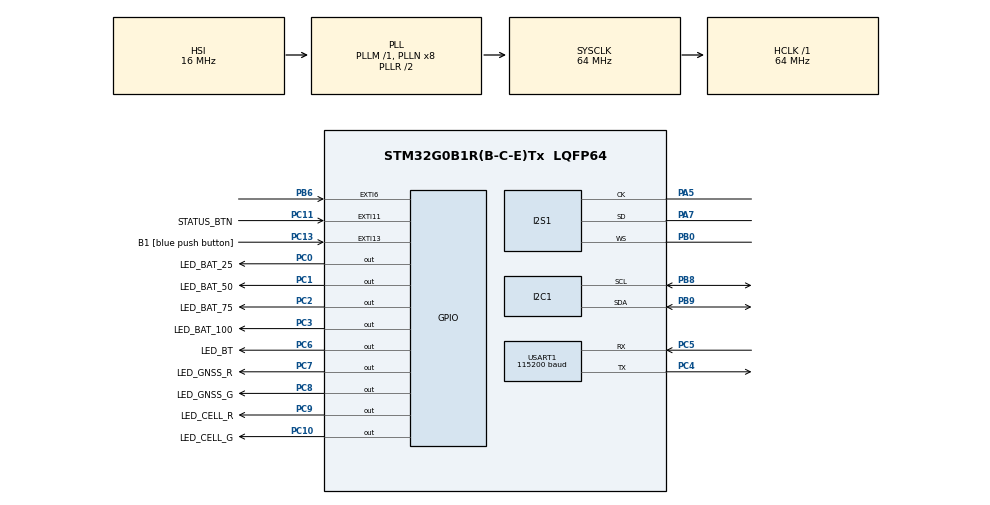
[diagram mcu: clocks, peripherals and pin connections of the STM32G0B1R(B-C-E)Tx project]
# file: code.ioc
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Dma.Request0=SPI1_RX
Dma.SPI1_RX.0.Direction=DMA_PERIPH_TO_MEMORY
Dma.SPI1_RX.0.EventEnable=DISABLE
Dma.SPI1_RX.0.Instance=DMA1_Channel1
Dma.SPI1_RX.0.MemDataAlignment=DMA_MDATAALIGN_HALFWORD
Dma.SPI1_RX.0.MemInc=DMA_MINC_ENABLE
Dma.SPI1_RX.0.Mode=DMA_CIRCULAR
Dma.SPI1_RX.0.PeriphDataAlignment=DMA_PDATAALIGN_HALFWORD
Dma.SPI1_RX.0.PeriphInc=DMA_PINC_DISABLE
Dma.SPI1_RX.0.Polarity=HAL_DMAMUX_REQ_GEN_RISING
Dma.SPI1_RX.0.Priority=DMA_PRIORITY_LOW
Dma.SPI1_RX.0.RequestNumber=1
Dma.SPI1_RX.0.SignalID=NONE
Dma.SPI1_RX.0.SyncEnable=DISABLE
Dma.SPI1_RX.0.SyncPolarity=HAL_DMAMUX_SYNC_NO_EVENT
Dma.SPI1_RX.0.SyncRequestNumber=1
Dma.SPI1_RX.0.SyncSignalID=NONE
I2C1.Timing=0x10B17DB5
I2S1.AudioFreq=I2S_AUDIOFREQ_48K
I2S1.DataFormat=I2S_DATAFORMAT_24B
I2S1.ErrorAudioFreq=-0.79 %
I2S1.FullDuplexMode=I2S_FULLDUPLEXMODE_DISABLE
I2S1.Instance=SPI$Index
I2S1.Mode=I2S_MODE_MASTER_RX
I2S1.RealAudioFreq=47.619 KHz
I2S1.Standard=I2S_STANDARD_MSB
I2S1.VirtualMode=I2S_MODE_MASTER
Mcu.Family=STM32G0
Mcu.Name=STM32G0B1R(B-C-E)Tx
Mcu.Package=LQFP64
NVIC.DMA1_Channel1_IRQn=true\:2\:0\:false\:false\:true\:false\:true\:true
NVIC.EXTI4_15_IRQn=true\:0\:0\:false\:false\:true\:true\:true\:true
NVIC.I2C1_IRQn=true\:0\:0\:false\:false\:true\:true\:true\:true
NVIC.USART1_IRQn=true\:0\:0\:false\:false\:true\:true\:true\:true
PA13.GPIO_Label=TMS
PA13.Mode=Serial_Wire
PA13.Signal=SYS_SWDIO
PA14-BOOT0.GPIO_Label=TCK
PA14-BOOT0.Mode=Serial_Wire
PA14-BOOT0.Signal=SYS_SWCLK
PA5.Mode=Half_Duplex_Master
PA5.Signal=I2S1_CK
PA7.Mode=Half_Duplex_Master
PA7.Signal=I2S1_SD
PB0.Mode=Half_Duplex_Master
PB0.Signal=I2S1_WS
PB6.Signal=GPXTI6
PB8.Mode=I2C
PB8.Signal=I2C1_SCL
PB9.Mode=I2C
PB9.Signal=I2C1_SDA
PC0.GPIO_Label=LED_BAT_25
PC0.Signal=GPIO_Output
PC1.GPIO_Label=LED_BAT_50
PC1.Signal=GPIO_Output
PC10.GPIO_Label=LED_CELL_G
PC10.Signal=GPIO_Output
PC11.GPIO_Label=STATUS_BTN
PC11.GPIO_ModeDefaultEXTI=GPIO_MODE_IT_FALLING
PC11.Signal=GPXTI11
PC13.GPIO_Label=B1 [blue push button]
PC13.GPIO_ModeDefaultEXTI=GPIO_MODE_IT_FALLING
PC13.Signal=GPXTI13
PC14-OSC32_IN\ (PC14).Mode=LSE-External-Oscillator
PC14-OSC32_IN\ (PC14).Signal=RCC_OSC32_IN
PC15-OSC32_OUT\ (PC15).Mode=LSE-External-Oscillator
PC15-OSC32_OUT\ (PC15).Signal=RCC_OSC32_OUT
PC2.GPIO_Label=LED_BAT_75
PC2.Signal=GPIO_Output
PC3.GPIO_Label=LED_BAT_100
PC3.Signal=GPIO_Output
PC4.Mode=Asynchronous
PC4.Signal=USART1_TX
PC5.Mode=Asynchronous
PC5.Signal=USART1_RX
PC6.GPIO_Label=LED_BT
PC6.Signal=GPIO_Output
PC7.GPIO_Label=LED_GNSS_R
PC7.Signal=GPIO_Output
PC8.GPIO_Label=LED_GNSS_G
PC8.Signal=GPIO_Output
PC9.GPIO_Label=LED_CELL_R
PC9.Signal=GPIO_Output
PF0-OSC_IN\ (PF0).GPIO_Label=MCO
PF0-OSC_IN\ (PF0).Mode=HSE-External-Clock-Source
PF0-OSC_IN\ (PF0).Signal=RCC_OSC_IN
ProjectManager.HeapSize=0x200
ProjectManager.StackSize=0x400
ProjectManager.TargetToolchain=CMake
RCC.ADCFreq_Value=64000000
RCC.AHBFreq_Value=64000000
RCC.CortexFreq_Value=64000000
RCC.EXTERNAL_CLOCK_VALUE=12288000
RCC.HCLKFreq_Value=64000000
RCC.HSE_VALUE=8000000
RCC.HSI48_VALUE=48000000
RCC.HSI_VALUE=16000000
RCC.SYSCLKFreq_VALUE=64000000
RCC.SYSCLKSource=RCC_SYSCLKSOURCE_PLLCLK
RCC.USART1CLockSelection=RCC_USART1CLKSOURCE_HSI
RCC.USBFreq_Value=48000000
RCC.VCOOutputFreq_Value=128000000
USART1.BaudRate=115200
USART1.VirtualMode-Asynchronous=VM_ASYNC
VP_SYS_VS_DBSignals.Mode=DisableDeadBatterySignals
board=NUCLEO-G0B1RE

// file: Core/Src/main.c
/* USER CODE BEGIN Header */
/**
 ******************************************************************************
 * @file           : main.c
 * @brief          : Main program body
 ******************************************************************************
 * @attention
 *
 * Copyright (c) 2026 STMicroelectronics.
 * All rights reserved.
 *
 * This software is licensed under terms that can be found in the LICENSE file
 * in the root directory of this software component.
 * If no LICENSE file comes with this software, it is provided AS-IS.
 *
 ******************************************************************************
 */
/* USER CODE END Header */
#include "main.h"

/* USER CODE BEGIN Includes */
#include "battery.h"
#include "sound.h"
#include "uplink.h"
#include "clock.h"
#include "message.h"
#include "status.h"
/* USER CODE END Includes */

/* USER CODE BEGIN PD */
/* Battery design capacity written to the BQ27441 at boot (mAh).
 * 0 keeps the gauge's current setting. */
#define BATTERY_DESIGN_CAPACITY_MAH 3000
/* How often the main loop retries a fuel gauge that isn't connected (ms).
 * Each failed try waits out I2C timeouts, so not every loop. */
#define BATTERY_POLL_INTERVAL_MS 5000
/* GNSS one shot requests. Cellular is unavailable while the XBee searches
 * for a fix, so keep these infrequent. */
#define GNSS_STARTUP_DELAY_MS 10000   /* let the XBee boot first */
#define GNSS_POLL_INTERVAL_MS 600000  /* 10 minutes */
#define GNSS_TIMEOUT_S 120
/* Give up waiting for the XBee's GNSS result this long after its own
 * timeout, so a lost response can't block GNSS and uploads forever. */
#define GNSS_RESPONSE_GRACE_MS 30000

/* User button B1 (PC13, low while pressed) starts and stops recording.
 * Presses closer together than BUTTON_DEBOUNCE_MS are switch bounce. A
 * press only counts if B1 is still held BUTTON_CONFIRM_MS after the edge,
 * which filters out the falling edges from bounce on release. */
#define BUTTON_DEBOUNCE_MS 250u
#define BUTTON_CONFIRM_MS 20u
/* The status button (PC11, low while pressed) shows the status LEDs for
 * STATUS_SHOW_MS. Debounced the same way as B1. */

/* TESTING: skip GNSS and use a fixed position until the app sends one, so
 * uploads can be tested without a fix. Set to 0 to restore GNSS. */
#define TEST_STATIC_POSITION 1
#define TEST_LATITUDE_E7 537728000    /* 53.7728 */
#define TEST_LONGITUDE_E7 -1133899000 /* -113.3899 */

/* Time from the cellular network (XBee AT "DT"). Asked every RETRY until an
 * answer arrives, then every RESYNC: the clock runs on the HAL tick, whose
 * oscillator can drift around a percent. */
#define NETWORK_TIME_RETRY_MS 10000u
#define NETWORK_TIME_RESYNC_MS 600000u /* 10 minutes */

/* USER CODE END PD */

I2C_HandleTypeDef hi2c1;

I2S_HandleTypeDef hi2s1;
DMA_HandleTypeDef hdma_spi1_rx;

UART_HandleTypeDef huart1;

/* USER CODE BEGIN PV */
static uint8_t api_rx_byte;
volatile API_Status api_status;
/* Set by the B1 interrupt, handled by the main loop. */
static volatile bool button_pressed;
static volatile uint32_t button_press_tick;
/* Set by the status button interrupt, handled by the main loop. */
static volatile bool status_button_pressed;
static volatile uint32_t status_button_tick;
Battery_Status battery_status;
/* Latest one second sound level from the microphone. */
Sound_Reading sound_level;

/* USER CODE END PV */

void SystemClock_Config(void);
static void MX_GPIO_Init(void);
static void MX_DMA_Init(void);
static void MX_USART1_UART_Init(void);
static void MX_I2C1_Init(void);
static void MX_I2S1_Init(void);

/* USER CODE BEGIN 0 */

/* printf() retargeting. LPUART1 (the debug UART) is not enabled in code.ioc,
 * so output is discarded. Enable LPUART1 in CubeMX and define DEBUG_UART to
 * send printf() output over it again. */
#ifdef DEBUG_UART
extern UART_HandleTypeDef hlpuart1;
#endif

int _write(int file, char *ptr, int len) {
#ifdef DEBUG_UART
  HAL_UART_Transmit(&hlpuart1, (uint8_t *)ptr, len, HAL_MAX_DELAY);
#else
  (void)file;
  (void)ptr;
#endif
  return len;
}

/* USER CODE END 0 */

int main(void)
{

  /* MCU Configuration--------------------------------------------------------*/

  /* Reset of all peripherals, Initializes the Flash interface and the Systick. */
  HAL_Init();

  /* Configure the system clock */
  SystemClock_Config();

  /* Initialize all configured peripherals */
  MX_GPIO_Init();
  MX_DMA_Init();
  MX_USART1_UART_Init();
  MX_I2C1_Init();
  MX_I2S1_Init();
  /* USER CODE BEGIN 2 */
  if (HAL_UART_Receive_IT(&huart1, &api_rx_byte, 1) != HAL_OK) {
    Error_Handler();
  }

  /* BQ27441 fuel gauge on I2C1 (PB8 SCL / PB9 SDA). A missing gauge is not
   * fatal; battery_status just stays zeroed. */
  if (Battery_Init(BATTERY_DESIGN_CAPACITY_MAH)) {
    Battery_Read(&battery_status);
  }
  /* Microphone on I2S1 (PA5 CK / PA7 SD / PB0 WS), DMA to one second Leq.
   * Recording starts and stops with the user button (B1); it is off at
   * boot. Once started, a failed start is retried by Sound_Read. */

  uint32_t last_battery_poll = HAL_GetTick();
  /* Status LEDs come on for STATUS_SHOW_MS at power up. */
  Status_Show();
#if TEST_STATIC_POSITION
  /* Only a fallback: the app (or GNSS) position replaces it once received. */
  Position_SetFallback(TEST_LATITUDE_E7, TEST_LONGITUDE_E7);
#else
  uint32_t next_gnss_poll = HAL_GetTick() + GNSS_STARTUP_DELAY_MS;
  uint32_t gnss_request_tick = 0;
#endif

  /* USER CODE END 2 */

  /* Infinite loop */
  /* USER CODE BEGIN WHILE */
  while (1) {
    static API_Status status; /* 1.5 kB, kept off the stack */
    while (API_ReadStatus(&status)) {
    	HandleAPI(&status);
    }

    /* B1 toggles recording. Readings already taken are still uploaded
     * after a stop. */
    if (button_pressed &&
        HAL_GetTick() - button_press_tick >= BUTTON_CONFIRM_MS) {
      button_pressed = false;
      if (HAL_GPIO_ReadPin(B1_GPIO_Port, B1_Pin) == GPIO_PIN_RESET) {
        if (Sound_IsRunning()) {
          Sound_Stop();
        } else {
          RecordStartTick = HAL_GetTick();
          Sound_Start(&hi2s1);
        }
      }
    }

    /* Status button: show the status LEDs, restarting the timer if they are
     * already on. */
    if (status_button_pressed &&
        HAL_GetTick() - status_button_tick >= BUTTON_CONFIRM_MS) {
      status_button_pressed = false;
      if (HAL_GPIO_ReadPin(STATUS_BTN_GPIO_Port, STATUS_BTN_Pin) ==
          GPIO_PIN_RESET) {
        Status_Show();
      }
    }
    Status_Process();

    Sound_Reading reading;
    while (Sound_Read(&reading)) {
      sound_level = reading;
      Uplink_AddReading(&reading);
    }
    Uplink_Process();

    /* Network time. Not during GNSS, which takes the XBee off cellular. */
    {
      static bool time_queried;
      static uint32_t last_time_query;
      uint32_t now = HAL_GetTick();
      bool fresh = NetworkTimeValid &&
                   now - NetworkTimeTick < NETWORK_TIME_RESYNC_MS;
      if (!fresh && !GNSSPending &&
          (!time_queried || now - last_time_query >= NETWORK_TIME_RETRY_MS)) {
        if (SendATCommand("DT")) {
          time_queried = true;
          last_time_query = now;
        }
      }
    }

    if (!Battery_IsConnected() &&
        HAL_GetTick() - last_battery_poll >= BATTERY_POLL_INTERVAL_MS) {
      last_battery_poll = HAL_GetTick();
      if (Battery_Init(BATTERY_DESIGN_CAPACITY_MAH)) {
        Battery_Read(&battery_status);
      }
    }

#if !TEST_STATIC_POSITION
    /* GNSS takes the XBee off cellular, so don't start it mid upload. */
    if (!GNSSPending && Uplink_IsIdle() &&
        (int32_t)(HAL_GetTick() - next_gnss_poll) >= 0) {
      if (RequestGNSS(GNSS_TIMEOUT_S)) {
        gnss_request_tick = HAL_GetTick();
        next_gnss_poll = gnss_request_tick + GNSS_POLL_INTERVAL_MS;
      }
    }
    if (GNSSPending && HAL_GetTick() - gnss_request_tick >
                       GNSS_TIMEOUT_S * 1000u + GNSS_RESPONSE_GRACE_MS) {
      GNSSPending = false;
    }
#endif

    /* USER CODE END WHILE */

  }
}

void SystemClock_Config(void)
{
  RCC_OscInitTypeDef RCC_OscInitStruct = {0};
  RCC_ClkInitTypeDef RCC_ClkInitStruct = {0};

  /** Configure the main internal regulator output voltage
  */
  HAL_PWREx_ControlVoltageScaling(PWR_REGULATOR_VOLTAGE_SCALE1);

  /** Initializes the RCC Oscillators according to the specified parameters
  * in the RCC_OscInitTypeDef structure.
  */
  RCC_OscInitStruct.OscillatorType = RCC_OSCILLATORTYPE_HSI;
  RCC_OscInitStruct.HSIState = RCC_HSI_ON;
  RCC_OscInitStruct.HSIDiv = RCC_HSI_DIV1;
  RCC_OscInitStruct.HSICalibrationValue = RCC_HSICALIBRATION_DEFAULT;
  RCC_OscInitStruct.PLL.PLLState = RCC_PLL_ON;
  RCC_OscInitStruct.PLL.PLLSource = RCC_PLLSOURCE_HSI;
  RCC_OscInitStruct.PLL.PLLM = RCC_PLLM_DIV1;
  RCC_OscInitStruct.PLL.PLLN = 8;
  RCC_OscInitStruct.PLL.PLLP = RCC_PLLP_DIV2;
  RCC_OscInitStruct.PLL.PLLQ = RCC_PLLQ_DIV2;
  RCC_OscInitStruct.PLL.PLLR = RCC_PLLR_DIV2;
  if (HAL_RCC_OscConfig(&RCC_OscInitStruct) != HAL_OK)
  {
    Error_Handler();
  }

  /** Initializes the CPU, AHB and APB buses clocks
  */
  RCC_ClkInitStruct.ClockType = RCC_CLOCKTYPE_HCLK|RCC_CLOCKTYPE_SYSCLK
                              |RCC_CLOCKTYPE_PCLK1;
  RCC_ClkInitStruct.SYSCLKSource = RCC_SYSCLKSOURCE_PLLCLK;
  RCC_ClkInitStruct.AHBCLKDivider = RCC_SYSCLK_DIV1;
  RCC_ClkInitStruct.APB1CLKDivider = RCC_HCLK_DIV1;

  if (HAL_RCC_ClockConfig(&RCC_ClkInitStruct, FLASH_LATENCY_2) != HAL_OK)
  {
    Error_Handler();
  }
}

static void MX_I2C1_Init(void)
{

  hi2c1.Instance = I2C1;
  hi2c1.Init.Timing = 0x10B17DB5;
  hi2c1.Init.OwnAddress1 = 0;
  hi2c1.Init.AddressingMode = I2C_ADDRESSINGMODE_7BIT;
  hi2c1.Init.DualAddressMode = I2C_DUALADDRESS_DISABLE;
  hi2c1.Init.OwnAddress2 = 0;
  hi2c1.Init.OwnAddress2Masks = I2C_OA2_NOMASK;
  hi2c1.Init.GeneralCallMode = I2C_GENERALCALL_DISABLE;
  hi2c1.Init.NoStretchMode = I2C_NOSTRETCH_DISABLE;
  if (HAL_I2C_Init(&hi2c1) != HAL_OK)
  {
    Error_Handler();
  }

  /** Configure Analogue filter
  */
  if (HAL_I2CEx_ConfigAnalogFilter(&hi2c1, I2C_ANALOGFILTER_ENABLE) != HAL_OK)
  {
    Error_Handler();
  }

  /** Configure Digital filter
  */
  if (HAL_I2CEx_ConfigDigitalFilter(&hi2c1, 0) != HAL_OK)
  {
    Error_Handler();
  }

}

static void MX_I2S1_Init(void)
{

  hi2s1.Instance = SPI1;
  hi2s1.Init.Mode = I2S_MODE_MASTER_RX;
  hi2s1.Init.Standard = I2S_STANDARD_MSB;
  hi2s1.Init.DataFormat = I2S_DATAFORMAT_24B;
  hi2s1.Init.MCLKOutput = I2S_MCLKOUTPUT_DISABLE;
  hi2s1.Init.AudioFreq = I2S_AUDIOFREQ_48K;
  hi2s1.Init.CPOL = I2S_CPOL_LOW;
  if (HAL_I2S_Init(&hi2s1) != HAL_OK)
  {
    Error_Handler();
  }

}

static void MX_USART1_UART_Init(void)
{

  huart1.Instance = USART1;
  huart1.Init.BaudRate = 115200;
  huart1.Init.WordLength = UART_WORDLENGTH_8B;
  huart1.Init.StopBits = UART_STOPBITS_1;
  huart1.Init.Parity = UART_PARITY_NONE;
  huart1.Init.Mode = UART_MODE_TX_RX;
  huart1.Init.HwFlowCtl = UART_HWCONTROL_NONE;
  huart1.Init.OverSampling = UART_OVERSAMPLING_16;
  huart1.Init.OneBitSampling = UART_ONE_BIT_SAMPLE_DISABLE;
  huart1.Init.ClockPrescaler = UART_PRESCALER_DIV1;
  huart1.AdvancedInit.AdvFeatureInit = UART_ADVFEATURE_NO_INIT;
  if (HAL_UART_Init(&huart1) != HAL_OK)
  {
    Error_Handler();
  }
  if (HAL_UARTEx_SetTxFifoThreshold(&huart1, UART_TXFIFO_THRESHOLD_1_8) != HAL_OK)
  {
    Error_Handler();
  }
  if (HAL_UARTEx_SetRxFifoThreshold(&huart1, UART_RXFIFO_THRESHOLD_1_8) != HAL_OK)
  {
    Error_Handler();
  }
  if (HAL_UARTEx_DisableFifoMode(&huart1) != HAL_OK)
  {
    Error_Handler();
  }

}

static void MX_DMA_Init(void)
{

  /* DMA controller clock enable */
  __HAL_RCC_DMA1_CLK_ENABLE();

  /* DMA interrupt init */
  /* DMA1_Channel1_IRQn interrupt configuration */
  HAL_NVIC_SetPriority(DMA1_Channel1_IRQn, 2, 0);
  HAL_NVIC_EnableIRQ(DMA1_Channel1_IRQn);

}

static void MX_GPIO_Init(void)
{
  GPIO_InitTypeDef GPIO_InitStruct = {0};

  /* GPIO Ports Clock Enable */
  __HAL_RCC_GPIOC_CLK_ENABLE();
  __HAL_RCC_GPIOF_CLK_ENABLE();
  __HAL_RCC_GPIOA_CLK_ENABLE();
  __HAL_RCC_GPIOB_CLK_ENABLE();

  /*Configure GPIO pin Output Level */
  HAL_GPIO_WritePin(GPIOC, LED_BAT_25_Pin|LED_BAT_50_Pin|LED_BAT_75_Pin|
                          LED_BAT_100_Pin|LED_BT_Pin|LED_GNSS_R_Pin|
                          LED_GNSS_G_Pin|LED_CELL_R_Pin|LED_CELL_G_Pin, GPIO_PIN_RESET);

  /*Configure GPIO pins : B1_Pin STATUS_BTN_Pin */
  GPIO_InitStruct.Pin = B1_Pin|STATUS_BTN_Pin;
  GPIO_InitStruct.Mode = GPIO_MODE_IT_FALLING;
  GPIO_InitStruct.Pull = GPIO_NOPULL;
  HAL_GPIO_Init(GPIOC, &GPIO_InitStruct);

  /*Configure GPIO pins : LED_BAT_25_Pin LED_BAT_50_Pin LED_BAT_75_Pin LED_BAT_100_Pin LED_BT_Pin LED_GNSS_R_Pin LED_GNSS_G_Pin LED_CELL_R_Pin LED_CELL_G_Pin */
  GPIO_InitStruct.Pin = LED_BAT_25_Pin|LED_BAT_50_Pin|LED_BAT_75_Pin|
                          LED_BAT_100_Pin|LED_BT_Pin|LED_GNSS_R_Pin|
                          LED_GNSS_G_Pin|LED_CELL_R_Pin|LED_CELL_G_Pin;
  GPIO_InitStruct.Mode = GPIO_MODE_OUTPUT_PP;
  GPIO_InitStruct.Pull = GPIO_NOPULL;
  GPIO_InitStruct.Speed = GPIO_SPEED_FREQ_LOW;
  HAL_GPIO_Init(GPIOC, &GPIO_InitStruct);

  /*Configure GPIO pin : PB6 */
  GPIO_InitStruct.Pin = GPIO_PIN_6;
  GPIO_InitStruct.Mode = GPIO_MODE_IT_RISING;
  GPIO_InitStruct.Pull = GPIO_NOPULL;
  HAL_GPIO_Init(GPIOB, &GPIO_InitStruct);

  /* EXTI interrupt init*/
  HAL_NVIC_SetPriority(EXTI4_15_IRQn, 0, 0);
  HAL_NVIC_EnableIRQ(EXTI4_15_IRQn);

  /* USER CODE BEGIN MX_GPIO_Init_2 */
  GPIO_InitStruct.Pin = GPIO_PIN_15;
  GPIO_InitStruct.Mode = GPIO_MODE_IT_RISING;
  GPIO_InitStruct.Pull = GPIO_NOPULL;
  HAL_GPIO_Init(GPIOA, &GPIO_InitStruct);

  /* USER CODE END MX_GPIO_Init_2 */
}

/* USER CODE BEGIN 4 */

/* XBee UART: every received byte goes to the API frame parser. */
void HAL_UART_RxCpltCallback(UART_HandleTypeDef *huart) {
  if (huart->Instance == USART1) {
    API_ProcessByte(api_rx_byte);
    if (HAL_UART_Receive_IT(&huart1, &api_rx_byte, 1) != HAL_OK) {
      Error_Handler();
    }
  }
}

/* Line errors (framing/noise, e.g. while the XBee powers up) drop the frame
 * in progress. For those the HAL keeps receiving; only overrun and timeout
 * errors stop reception, so re-arm just in that case. */
void HAL_UART_ErrorCallback(UART_HandleTypeDef *huart) {
  if (huart->Instance == USART1) {
    API_ResetParser();
    if (huart->RxState == HAL_UART_STATE_READY) {
      HAL_UART_Receive_IT(&huart1, &api_rx_byte, 1);
    }
  }
}

/* B1 (PC13) or the status button (PC11) pressed. Only flags it; the main
 * loop does the work (starting/stopping recording, showing the status LEDs),
 * since that calls HAL functions that wait on SysTick. */
void HAL_GPIO_EXTI_Falling_Callback(uint16_t GPIO_Pin) {
	static uint32_t last_b1_press;
	static uint32_t last_status_press;
	uint32_t now = HAL_GetTick();
	if (GPIO_Pin == B1_Pin) {
		if (now - last_b1_press >= BUTTON_DEBOUNCE_MS) {
			last_b1_press = now;
			button_press_tick = now;
			button_pressed = true;
		}
	} else if (GPIO_Pin == STATUS_BTN_Pin) {
		if (now - last_status_press >= BUTTON_DEBOUNCE_MS) {
			last_status_press = now;
			status_button_tick = now;
			status_button_pressed = true;
		}
	}
}

void HAL_GPIO_EXTI_Rising_Callback(uint16_t GPIO_Pin) {
	if (GPIO_Pin != GPIO_PIN_15 || api_status.frame_type != 0x88 ||
	    api_status.data_length < 4 || api_status.data[2] != 0)
	{
		return;
	}

	uint8_t value = (uint8_t)api_status.data[3];
	if (api_status.data[0] == 'A' && api_status.data[1] == 'I')
	{
		/* AI 0 = connected to the network: ask for the signal strength.
		 * Anything else is not connected, so no bars. */
		if (value == 0)
		{
			SendATCommand("DB");
		}
		else
		{
			Cell = 0;
			GetCell = true;
		}
	}
	else if (api_status.data[0] == 'D' && api_status.data[1] == 'B')
	{
		if (value <= 70) Cell = 5;
		else if (value <= 85) Cell = 4;
		else if (value <= 95) Cell = 3;
		else if (value <= 100) Cell = 2;
		else if (value <= 110) Cell = 1;
		else Cell = 0;
		GetCell = true;
	}
}
/* USER CODE END 4 */

void Error_Handler(void)
{
  __disable_irq();
  while (1) {
  }
}
#ifdef USE_FULL_ASSERT
/**
  * @brief  Reports the name of the source file and the source line number
  *         where the assert_param error has occurred.
  * @param  file: pointer to the source file name
  * @param  line: assert_param error line source number
  * @retval None
  */
void assert_failed(uint8_t *file, uint32_t line)
{
  /* USER CODE BEGIN 6 */
  /* User can add his own implementation to report the file name and line
     number, ex: printf("Wrong parameters value: file %s on line %d\r\n", file,
     line) */
  /* USER CODE END 6 */
}
#endif /* USE_FULL_ASSERT */
